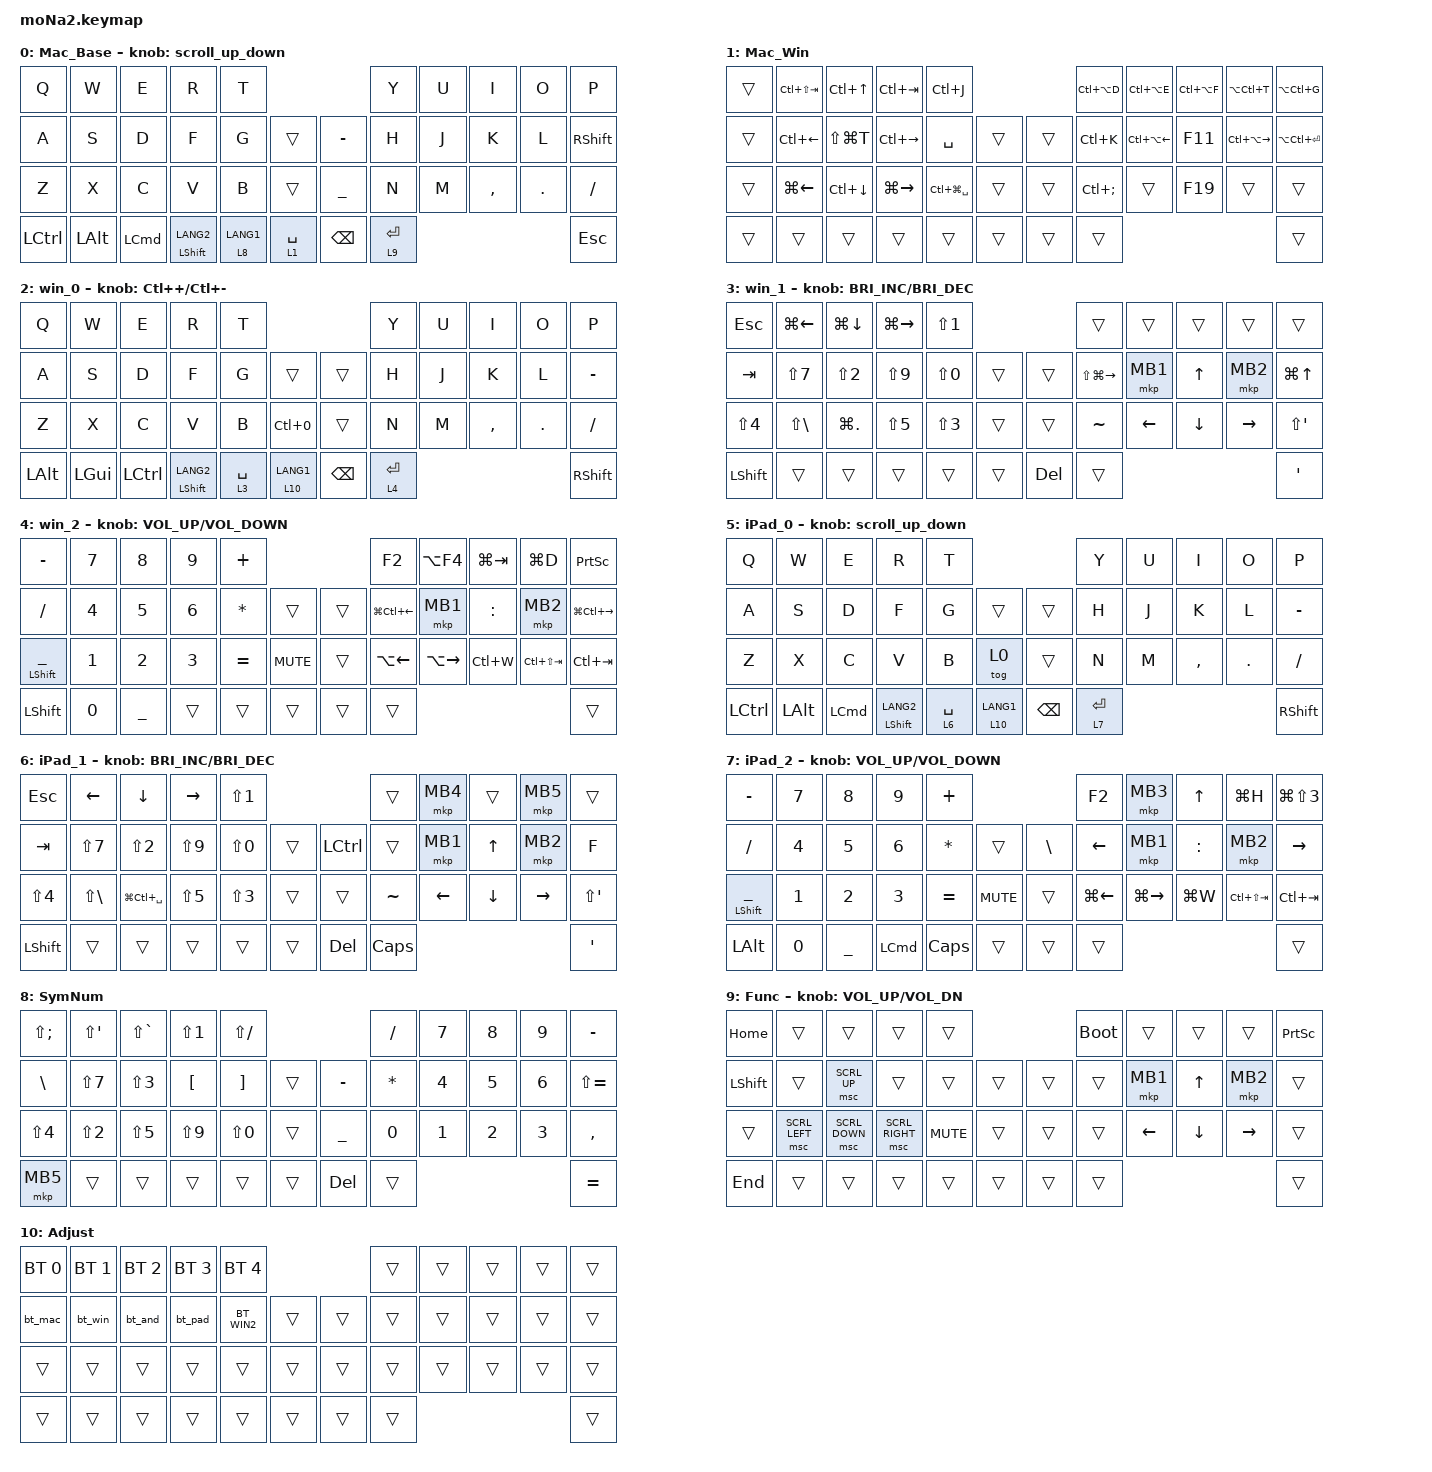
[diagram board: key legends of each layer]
#include <behaviors.dtsi>
#include <dt-bindings/zmk/bt.h>
#include <dt-bindings/zmk/keys.h>
#include <dt-bindings/zmk/pointing.h>

#define ZMK_POINTING_DEFAULT_SCRL_VAL 100
#define MOUSE 6

&mt {
    flavor = "balanced";
    quick-tap-ms = <0>;
};

/ {
    combos {
        compatible = "zmk,combos";

        Tab {
            bindings = <&kp TAB>;
            key-positions = <11 12>;
        };

        Shift {
            bindings = <&kp LSHIFT>;
            key-positions = <10 11>;
        };

        alt_R {
            bindings = <&kp RA(SPACE)>;
            key-positions = <31 32>;
        };

        alt_L {
            bindings = <&kp RIGHT_ALT>;
            key-positions = <35 36>;
        };
    };

    behaviors {
        lt_to_layer_0: lt_to_layer_0 {
            compatible = "zmk,behavior-hold-tap";
            label = "LAYER_TAP_TO_0";
            bindings = <&mo>, <&to_layer_0>;

            #binding-cells = <2>;
            tapping-term-ms = <200>;
        };

        scroll_up_down: behavior_sensor_rotate_mouse_wheel_up_down {
            compatible = "zmk,behavior-sensor-rotate";
            #sensor-binding-cells = <0>;
            bindings = <&msc SCRL_UP>, <&msc SCRL_DOWN>;

            tap-ms = <20>;
        };
    };

    macros {
        bt_win: bt_win {
            compatible = "zmk,behavior-macro";
            #binding-cells = <0>;
            bindings = <&bt BT_SEL 1>, <&macro_wait_time 200>, <&to 2>;

            label = "BT_WIN";
        };

        bt_pad: bt_pad {
            compatible = "zmk,behavior-macro";
            #binding-cells = <0>;
            bindings = <&bt BT_SEL 2>, <&macro_wait_time 200>, <&to 6>;

            label = "BT_PAD";
        };

        bt_mac: bt_mac {
            compatible = "zmk,behavior-macro";
            #binding-cells = <0>;
            bindings = <&bt BT_SEL 0>, <&macro_wait_time 200>, <&to 0>;

            label = "BT_MAC";
        };

        to_layer_0: new_macro {
            compatible = "zmk,behavior-macro";
            #binding-cells = <0>;
            bindings = <&to 2>;
            label = "NEW_MACRO";
        };

        bt_and: bt_and {
            compatible = "zmk,behavior-macro";
            #binding-cells = <0>;
            bindings = <&bt BT_SEL 2>, <&macro_wait_time 200>, <&to 4>;

            label = "BT_AND";
        };

        BT_WIN2: BT_WIN2 {
            compatible = "zmk,behavior-macro";
            #binding-cells = <0>;
            bindings = <&bt BT_SEL 4>, <&macro_wait_time 200>, <&to 2>;

            label = "BT_WIN2";
        };
    };

    keymap {
        compatible = "zmk,keymap";

        Mac_Base {
            bindings = <
&kp Q             &kp W         &kp E             &kp R                 &kp T                                      &kp Y        &kp U  &kp I      &kp O    &kp P
&kp A             &kp S         &kp D             &kp F                 &kp G        &trans         &kp MINUS      &kp H        &kp J  &kp K      &kp L    &kp RSHIFT
&kp Z             &kp X         &kp C             &kp V                 &kp B        &trans         &kp UNDER      &kp N        &kp M  &kp COMMA  &kp DOT  &kp SLASH
&kp LEFT_CONTROL  &kp LEFT_ALT  &kp LEFT_COMMAND  &mt LEFT_SHIFT LANG2  &lt 8 LANG1  &lt 1 SPACE    &kp BACKSPACE  &lt 9 ENTER                             &kp ESC
            >;

            sensor-bindings = <&scroll_up_down>;
        };

        Mac_Win {
            bindings = <
&trans  &kp LC(LS(TAB))  &kp LC(UP)     &kp LC(TAB)    &kp LC(J)                            &kp LC(LA(D))      &kp LC(LA(E))     &kp LC(LA(F))  &kp LA(LC(T))      &kp LA(LC(G))
&trans  &kp LC(LEFT)     &kp LS(LG(T))  &kp LC(RIGHT)  &kp SPACE          &trans    &trans  &kp LC(K)          &kp LC(LA(LEFT))  &kp F11        &kp LC(LA(RIGHT))  &kp LA(LC(ENTER))
&trans  &kp LG(LEFT)     &kp LC(DOWN)   &kp LG(RIGHT)  &kp LC(LG(SPACE))  &trans    &trans  &kp LC(SEMICOLON)  &trans            &kp F19        &trans             &trans
&trans  &trans           &trans         &trans         &trans             &trans    &trans  &trans                                                                 &trans
            >;
        };

        win_0 {
            bindings = <
&kp Q         &kp W         &kp E             &kp R                 &kp T                                       &kp Y        &kp U  &kp I      &kp O    &kp P
&kp A         &kp S         &kp D             &kp F                 &kp G        &trans          &trans         &kp H        &kp J  &kp K      &kp L    &kp MINUS
&kp Z         &kp X         &kp C             &kp V                 &kp B        &kp LC(N0)      &trans         &kp N        &kp M  &kp COMMA  &kp DOT  &kp SLASH
&kp LEFT_ALT  &kp LEFT_GUI  &kp LEFT_CONTROL  &mt LEFT_SHIFT LANG2  &lt 3 SPACE  &lt 10 LANG1    &kp BACKSPACE  &lt 4 ENTER                             &kp RIGHT_SHIFT
            >;

            sensor-bindings = <&inc_dec_kp LC(PLUS) LC(MINUS)>;
        };

        win_1 {
            bindings = <
&kp ESCAPE        &kp LG(LEFT_ARROW)  &kp LG(DOWN_ARROW)  &kp LG(RIGHT)  &kp LS(NUMBER_1)                     &trans                   &trans          &trans          &trans           &trans
&kp TAB           &kp LS(N7)          &kp LS(N2)          &kp LS(N9)     &kp LS(N0)        &trans    &trans   &kp LS(LG(RIGHT_ARROW))  &mkp MB1        &kp UP_ARROW    &mkp MB2         &kp LG(UP_ARROW)
&kp LS(NUMBER_4)  &kp LS(BACKSLASH)   &kp LG(PERIOD)      &kp LS(N5)     &kp LS(N3)        &trans    &trans   &kp TILDE                &kp LEFT_ARROW  &kp DOWN_ARROW  &kp RIGHT_ARROW  &kp LS(APOS)
&kp LEFT_SHIFT    &trans              &trans              &trans         &trans            &trans    &kp DEL  &trans                                                                    &kp APOS
            >;

            sensor-bindings = <&inc_dec_kp C_BRIGHTNESS_INC C_BRIGHTNESS_DEC>;
        };

        win_2 {
            bindings = <
&kp MINUS             &kp N7  &kp N8     &kp N9  &kp PLUS                            &kp F2                  &kp LA(F4)           &kp LG(TAB)  &kp LG(D)        &kp PRINTSCREEN
&kp SLASH             &kp N4  &kp N5     &kp N6  &kp ASTERISK  &trans        &trans  &kp LG(LC(LEFT_ARROW))  &mkp MB1             &kp COLON    &mkp MB2         &kp LG(LC(RIGHT_ARROW))
&mt LEFT_SHIFT UNDER  &kp N1  &kp N2     &kp N3  &kp EQUAL     &kp C_MUTE    &trans  &kp LA(LEFT_ARROW)      &kp LA(RIGHT_ARROW)  &kp LC(W)    &kp LC(LS(TAB))  &kp LC(TAB)
&kp LEFT_SHIFT        &kp N0  &kp UNDER  &trans  &trans        &trans        &trans  &trans                                                                     &trans
            >;

            sensor-bindings = <&inc_dec_kp C_VOLUME_UP C_VOLUME_DOWN>;
        };

        iPad_0 {
            bindings = <
&kp Q             &kp W         &kp E             &kp R                 &kp T                                       &kp Y        &kp U  &kp I      &kp O    &kp P
&kp A             &kp S         &kp D             &kp F                 &kp G        &trans          &trans         &kp H        &kp J  &kp K      &kp L    &kp MINUS
&kp Z             &kp X         &kp C             &kp V                 &kp B        &tog 0          &trans         &kp N        &kp M  &kp COMMA  &kp DOT  &kp SLASH
&kp LEFT_CONTROL  &kp LEFT_ALT  &kp LEFT_COMMAND  &mt LEFT_SHIFT LANG2  &lt 6 SPACE  &lt 10 LANG1    &kp BACKSPACE  &lt 7 ENTER                             &kp RIGHT_SHIFT
            >;

            sensor-bindings = <&scroll_up_down>;
        };

        iPad_1 {
            bindings = <
&kp ESCAPE        &kp LEFT_ARROW     &kp DOWN_ARROW     &kp RIGHT_ARROW  &kp LS(NUMBER_1)                              &trans     &mkp MB4        &trans          &mkp MB5         &trans
&kp TAB           &kp LS(N7)         &kp LS(N2)         &kp LS(N9)       &kp LS(N0)        &trans    &kp LEFT_CONTROL  &trans     &mkp MB1        &kp UP_ARROW    &mkp MB2         &kp F
&kp LS(NUMBER_4)  &kp LS(BACKSLASH)  &kp LG(LC(SPACE))  &kp LS(N5)       &kp LS(N3)        &trans    &trans            &kp TILDE  &kp LEFT_ARROW  &kp DOWN_ARROW  &kp RIGHT_ARROW  &kp LS(APOS)
&kp LEFT_SHIFT    &trans             &trans             &trans           &trans            &trans    &kp DEL           &kp CLCK                                                    &kp APOS
            >;

            sensor-bindings = <&inc_dec_kp C_BRIGHTNESS_INC C_BRIGHTNESS_DEC>;
        };

        iPad_2 {
            bindings = <
&kp MINUS             &kp N7  &kp N8     &kp N9            &kp PLUS                                   &kp F2              &mkp MB3             &kp UP_ARROW  &kp LG(H)        &kp LG(LS(NUMBER_3))
&kp SLASH             &kp N4  &kp N5     &kp N6            &kp ASTERISK  &trans        &kp BACKSLASH  &kp LEFT_ARROW      &mkp MB1             &kp COLON     &mkp MB2         &kp RIGHT_ARROW
&mt LEFT_SHIFT UNDER  &kp N1  &kp N2     &kp N3            &kp EQUAL     &kp C_MUTE    &trans         &kp LG(LEFT_ARROW)  &kp LG(RIGHT_ARROW)  &kp LG(W)     &kp LC(LS(TAB))  &kp LC(TAB)
&kp LEFT_ALT          &kp N0  &kp UNDER  &kp LEFT_COMMAND  &kp CLCK      &trans        &trans         &trans                                                                  &trans
            >;

            sensor-bindings = <&inc_dec_kp C_VOLUME_UP C_VOLUME_DOWN>;
        };

        SymNum {
            bindings = <
&kp LS(SEMI)   &kp LS(APOS)  &kp LS(GRAVE)  &kp LS(N1)  &kp LS(SLASH)                       &kp SLASH  &kp N7  &kp N8  &kp N9        &kp MINUS
&kp BACKSLASH  &kp LS(N7)    &kp LS(N3)     &kp LBKT    &kp RBKT       &trans    &kp MINUS  &kp ASTRK  &kp N4  &kp N5  &kp N6        &kp LS(EQUAL)
&kp LS(N4)     &kp LS(N2)    &kp LS(N5)     &kp LS(N9)  &kp LS(N0)     &trans    &kp UNDER  &kp N0     &kp N1  &kp N2  &kp NUMBER_3  &kp COMMA
&mkp MB5       &trans        &trans         &trans      &trans         &trans    &kp DEL    &trans                                   &kp EQUAL
            >;
        };

        Func {
            bindings = <
&kp HOME    &trans          &trans          &trans           &trans                        &bootloader  &trans    &trans    &trans     &kp PRINTSCREEN
&kp LSHIFT  &trans          &msc SCRL_UP    &trans           &trans      &trans    &trans  &trans       &mkp MB1  &kp UP    &mkp MB2   &trans
&trans      &msc SCRL_LEFT  &msc SCRL_DOWN  &msc SCRL_RIGHT  &kp K_MUTE  &trans    &trans  &trans       &kp LEFT  &kp DOWN  &kp RIGHT  &trans
&kp END     &trans          &trans          &trans           &trans      &trans    &trans  &trans                                      &trans
            >;

            sensor-bindings = <&inc_dec_kp C_VOL_UP C_VOL_DN>;
        };

        Adjust {
            bindings = <
&bt BT_SEL 0  &bt BT_SEL 1  &bt BT_SEL 2  &bt BT_SEL 3  &bt BT_SEL 4                    &trans  &trans  &trans  &trans  &trans
&bt_mac       &bt_win       &bt_and       &bt_pad       &BT_WIN2      &trans    &trans  &trans  &trans  &trans  &trans  &trans
&trans        &trans        &trans        &trans        &trans        &trans    &trans  &trans  &trans  &trans  &trans  &trans
&trans        &trans        &trans        &trans        &trans        &trans    &trans  &trans                          &trans
            >;
        };
    };

    conditional_layers {
        compatible = "zmk,conditional-layers";

        Adjust {
            if-layers = <8 9>;
            then-layer = <10>;
        };
    };
};
